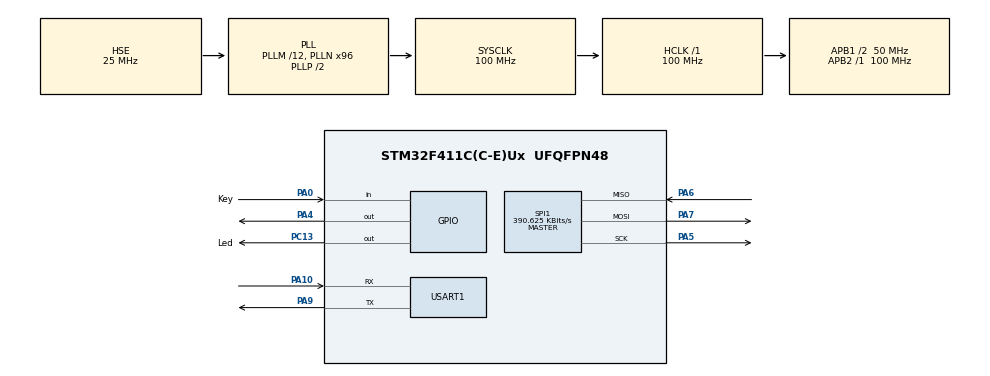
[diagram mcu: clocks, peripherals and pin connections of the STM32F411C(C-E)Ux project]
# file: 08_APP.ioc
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Dma.Request0=USART1_RX
Dma.USART1_RX.0.Direction=DMA_PERIPH_TO_MEMORY
Dma.USART1_RX.0.FIFOMode=DMA_FIFOMODE_DISABLE
Dma.USART1_RX.0.Instance=DMA2_Stream2
Dma.USART1_RX.0.MemDataAlignment=DMA_MDATAALIGN_BYTE
Dma.USART1_RX.0.MemInc=DMA_MINC_ENABLE
Dma.USART1_RX.0.Mode=DMA_NORMAL
Dma.USART1_RX.0.PeriphDataAlignment=DMA_PDATAALIGN_BYTE
Dma.USART1_RX.0.PeriphInc=DMA_PINC_DISABLE
Dma.USART1_RX.0.Priority=DMA_PRIORITY_LOW
FREERTOS.Tasks01=defaultTask,24,128,StartDefaultTask,Default,NULL,Dynamic,NULL,NULL
Mcu.Family=STM32F4
Mcu.Name=STM32F411C(C-E)Ux
Mcu.Package=UFQFPN48
NVIC.DMA2_Stream2_IRQn=true\:5\:0\:false\:false\:true\:true\:false\:true\:true
NVIC.PriorityGroup=NVIC_PRIORITYGROUP_4
NVIC.TIM1_UP_TIM10_IRQn=true\:15\:0\:false\:false\:true\:false\:false\:true\:true
NVIC.TimeBase=TIM1_UP_TIM10_IRQn
NVIC.TimeBaseIP=TIM1
NVIC.USART1_IRQn=true\:5\:0\:false\:false\:true\:true\:true\:true\:true
PA0-WKUP.GPIO_Label=Key
PA0-WKUP.GPIO_PuPd=GPIO_PULLUP
PA0-WKUP.Signal=GPIO_Input
PA10.Mode=Asynchronous
PA10.Signal=USART1_RX
PA13.Mode=Serial_Wire
PA13.Signal=SYS_JTMS-SWDIO
PA14.Mode=Serial_Wire
PA14.Signal=SYS_JTCK-SWCLK
PA4.GPIO_Speed=GPIO_SPEED_FREQ_HIGH
PA4.PinState=GPIO_PIN_SET
PA4.Signal=GPIO_Output
PA5.Mode=Full_Duplex_Master
PA5.Signal=SPI1_SCK
PA6.Mode=Full_Duplex_Master
PA6.Signal=SPI1_MISO
PA7.Mode=Full_Duplex_Master
PA7.Signal=SPI1_MOSI
PA9.Mode=Asynchronous
PA9.Signal=USART1_TX
PC13-ANTI_TAMP.GPIO_Label=Led
PC13-ANTI_TAMP.Signal=GPIO_Output
PH0\ -\ OSC_IN.Mode=HSE-External-Oscillator
PH0\ -\ OSC_IN.Signal=RCC_OSC_IN
PH1\ -\ OSC_OUT.Mode=HSE-External-Oscillator
PH1\ -\ OSC_OUT.Signal=RCC_OSC_OUT
ProjectManager.HeapSize=0x200
ProjectManager.StackSize=0x400
ProjectManager.TargetToolchain=MDK-ARM V5.32
RCC.48MHZClocksFreq_Value=50000000
RCC.AHBFreq_Value=100000000
RCC.APB1CLKDivider=RCC_HCLK_DIV2
RCC.APB1Freq_Value=50000000
RCC.APB1TimFreq_Value=100000000
RCC.APB2Freq_Value=100000000
RCC.APB2TimFreq_Value=100000000
RCC.CortexFreq_Value=100000000
RCC.HCLKFreq_Value=100000000
RCC.HSE_VALUE=25000000
RCC.HSI_VALUE=16000000
RCC.LSE_VALUE=32768
RCC.PLLM=8
RCC.PLLN=100
RCC.SYSCLKFreq_VALUE=100000000
RCC.SYSCLKSource=RCC_SYSCLKSOURCE_PLLCLK
RCC.VCOOutputFreq_Value=200000000
SPI1.BaudRatePrescaler=SPI_BAUDRATEPRESCALER_256
SPI1.CalculateBaudRate=390.625 KBits/s
SPI1.Direction=SPI_DIRECTION_2LINES
SPI1.Mode=SPI_MODE_MASTER
SPI1.VirtualType=VM_MASTER
USART1.VirtualMode=VM_ASYNC
VP_FREERTOS_VS_CMSIS_V2.Mode=CMSIS_V2
VP_SYS_VS_tim1.Mode=TIM1
board=custom

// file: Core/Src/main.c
/* USER CODE BEGIN Header */
/**
  ******************************************************************************
  * @file           : main.c
  * @brief          : Main program body
  ******************************************************************************
  * @attention
  *
  * Copyright (c) 2026 STMicroelectronics.
  * All rights reserved.
  *
  * This software is licensed under terms that can be found in the LICENSE file
  * in the root directory of this software component.
  * If no LICENSE file comes with this software, it is provided AS-IS.
  *
  ******************************************************************************
  */
/* USER CODE END Header */
#include "main.h"
#include "cmsis_os.h"
#include "dma.h"
#include "spi.h"
#include "usart.h"
#include "gpio.h"

/* USER CODE BEGIN Includes */
#include "AT24Cxx_Driver.h"
#include "W25Q_Handler.h"
/* USER CODE END Includes */

void SystemClock_Config(void);
void MX_FREERTOS_Init(void);

int main(void)
{

  /* MCU Configuration--------------------------------------------------------*/

  /* Reset of all peripherals, Initializes the Flash interface and the Systick. */
  HAL_Init();

  /* Configure the system clock */
  SystemClock_Config();

  /* Initialize all configured peripherals */
  MX_GPIO_Init();
  MX_DMA_Init();
  MX_USART1_UART_Init();
  MX_SPI1_Init();
  /* USER CODE BEGIN 2 */

  ee_CheckOk();

  W25Q64_Init();

  /* USER CODE END 2 */

  /* Init scheduler */
  osKernelInitialize();  /* Call init function for freertos objects (in cmsis_os2.c) */
  MX_FREERTOS_Init();

  /* Start scheduler */
  osKernelStart();

  /* We should never get here as control is now taken by the scheduler */

  /* Infinite loop */
  while (1)
  {

  }
}

void SystemClock_Config(void)
{
  RCC_OscInitTypeDef RCC_OscInitStruct = {0};
  RCC_ClkInitTypeDef RCC_ClkInitStruct = {0};

  /** Configure the main internal regulator output voltage
  */
  __HAL_RCC_PWR_CLK_ENABLE();
  __HAL_PWR_VOLTAGESCALING_CONFIG(PWR_REGULATOR_VOLTAGE_SCALE1);

  /** Initializes the RCC Oscillators according to the specified parameters
  * in the RCC_OscInitTypeDef structure.
  */
  RCC_OscInitStruct.OscillatorType = RCC_OSCILLATORTYPE_HSE;
  RCC_OscInitStruct.HSEState = RCC_HSE_ON;
  RCC_OscInitStruct.PLL.PLLState = RCC_PLL_ON;
  RCC_OscInitStruct.PLL.PLLSource = RCC_PLLSOURCE_HSE;
  RCC_OscInitStruct.PLL.PLLM = 12;
  RCC_OscInitStruct.PLL.PLLN = 96;
  RCC_OscInitStruct.PLL.PLLP = RCC_PLLP_DIV2;
  RCC_OscInitStruct.PLL.PLLQ = 4;
  if (HAL_RCC_OscConfig(&RCC_OscInitStruct) != HAL_OK)
  {
    Error_Handler();
  }

  /** Initializes the CPU, AHB and APB buses clocks
  */
  RCC_ClkInitStruct.ClockType = RCC_CLOCKTYPE_HCLK|RCC_CLOCKTYPE_SYSCLK
                              |RCC_CLOCKTYPE_PCLK1|RCC_CLOCKTYPE_PCLK2;
  RCC_ClkInitStruct.SYSCLKSource = RCC_SYSCLKSOURCE_PLLCLK;
  RCC_ClkInitStruct.AHBCLKDivider = RCC_SYSCLK_DIV1;
  RCC_ClkInitStruct.APB1CLKDivider = RCC_HCLK_DIV2;
  RCC_ClkInitStruct.APB2CLKDivider = RCC_HCLK_DIV1;

  if (HAL_RCC_ClockConfig(&RCC_ClkInitStruct, FLASH_LATENCY_3) != HAL_OK)
  {
    Error_Handler();
  }
}

void HAL_TIM_PeriodElapsedCallback(TIM_HandleTypeDef *htim)
{
  if (htim->Instance == TIM1)
  {
    HAL_IncTick();
  }
}

void Error_Handler(void)
{
  __disable_irq();
  while (1)
  {
  }
}

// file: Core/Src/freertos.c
/* USER CODE BEGIN Header */
/**
  ******************************************************************************
  * File Name          : freertos.c
  * Description        : Code for freertos applications
  ******************************************************************************
  * @attention
  *
  * Copyright (c) 2026 STMicroelectronics.
  * All rights reserved.
  *
  * This software is licensed under terms that can be found in the LICENSE file
  * in the root directory of this software component.
  * If no LICENSE file comes with this software, it is provided AS-IS.
  *
  ******************************************************************************
  */
/* USER CODE END Header */

#include "FreeRTOS.h"
#include "task.h"
#include "main.h"
#include "cmsis_os.h"

/* USER CODE BEGIN Includes */

#include "gpio.h"
#include "usart.h"
#include "queue.h"
#include "ymodem.h"
#include "OTA.h"

/* USER CODE END Includes */

/* USER CODE BEGIN Variables */
QueueHandle_t Q_YmodemReclength;

extern osThreadAttr_t OTA_task_attributes;
extern osThreadId_t OTA_taskHandle;
/* USER CODE END Variables */
/* Definitions for defaultTask */
osThreadId_t defaultTaskHandle;
const osThreadAttr_t defaultTask_attributes = {
  .name = "defaultTask",
  .stack_size = 128 * 4,
  .priority = (osPriority_t) osPriorityNormal,
};

void StartDefaultTask(void *argument);

void MX_FREERTOS_Init(void); /* (MISRA C 2004 rule 8.1) */

void MX_FREERTOS_Init(void) {

  /* USER CODE BEGIN RTOS_QUEUES */
  /* add queues, ... */

  Q_YmodemReclength = xQueueCreate(1,sizeof(uint16_t));

  /* USER CODE END RTOS_QUEUES */

  /* Create the thread(s) */
  /* creation of defaultTask */
  defaultTaskHandle = osThreadNew(StartDefaultTask, NULL, &defaultTask_attributes);

  /* USER CODE BEGIN RTOS_THREADS */
  /* add threads, ... */
  OTA_taskHandle = osThreadNew(ota_task_runnable, NULL, &OTA_task_attributes);

  /* USER CODE END RTOS_THREADS */

}

void StartDefaultTask(void *argument)
{
  /* USER CODE BEGIN StartDefaultTask */

//	HAL_UARTEx_ReceiveToIdle_DMA(&huart1, rec_cmd, 10);

  /* Infinite loop */
  for(;;)
  {
	HAL_GPIO_WritePin(Led_GPIO_Port, Led_Pin, GPIO_PIN_RESET);
    osDelay(500);
	HAL_GPIO_WritePin(Led_GPIO_Port, Led_Pin, GPIO_PIN_SET);
    osDelay(500);

//	if(rec_len !=0)
//    {
//       for(uint8_t i = 0; i< rec_len; i++)
//       {
//         HAL_UART_Transmit(&huart1,&rec_cmd[i],1,10);
//       }
//       rec_len = 0;
//       HAL_UARTEx_ReceiveToIdle_DMA(&huart1, rec_cmd, 10);
//     }
//

  }
  /* USER CODE END StartDefaultTask */
}

/* USER CODE BEGIN Application */

extern DMA_HandleTypeDef hdma_usart1_rx;
void HAL_UARTEx_RxEventCallback(UART_HandleTypeDef *huart, uint16_t Size)
{
  UNUSED(huart);
  UNUSED(Size);
  uint16_t t_u16_rec_len = 0;
  BaseType_t xHigherPriorityTaskWoken = pdFALSE;

  //判断是串口1
  if (huart->Instance == USART1)
  {
        //获取剩余当前传输值
		if(1 == __HAL_UART_GET_FLAG(huart,UART_FLAG_IDLE))
		{
			t_u16_rec_len = Size;

			if(pdFALSE != xQueueSendFromISR(Q_YmodemReclength,&t_u16_rec_len,0))
			{
				xHigherPriorityTaskWoken = pdTRUE;
			}
			HAL_UART_DMAStop(huart);	//停掉DMA
		}
		portYIELD_FROM_ISR(xHigherPriorityTaskWoken);//开始任务调度
	}

}

/* USER CODE END Application */
